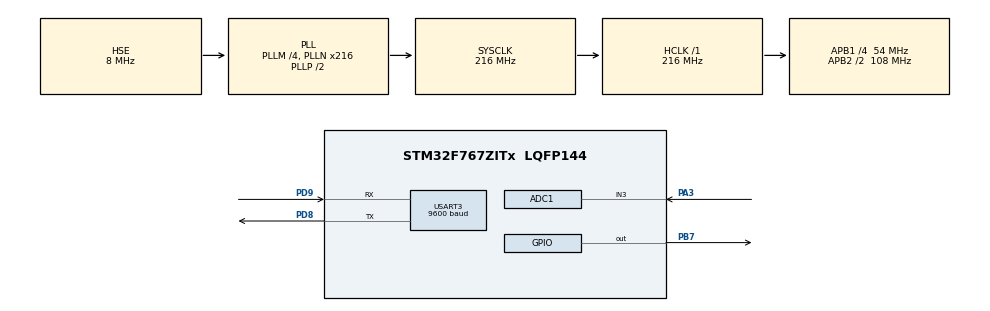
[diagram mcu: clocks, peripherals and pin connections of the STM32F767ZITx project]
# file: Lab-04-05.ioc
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ADC1.Channel-0\#ChannelRegularConversion=ADC_CHANNEL_3
ADC1.InjNumberOfConversion=0
ADC1.NbrOfConversion=1
ADC1.NbrOfConversionFlag=1
ADC1.Rank-0\#ChannelRegularConversion=1
ADC1.SamplingTime-0\#ChannelRegularConversion=ADC_SAMPLETIME_3CYCLES
ADC1.ScanConvMode=ADC_SCAN_DISABLE
ADC1.master=1
Mcu.Family=STM32F7
Mcu.Name=STM32F767ZITx
Mcu.Package=LQFP144
NVIC.PriorityGroup=NVIC_PRIORITYGROUP_4
NVIC.TIM6_DAC_IRQn=true\:0\:0\:false\:false\:true\:true\:true
NVIC.USART3_IRQn=true\:0\:0\:false\:false\:true\:true\:true
PA3.Signal=ADCx_IN3
PB7.Signal=GPIO_Output
PD8.Mode=Asynchronous
PD8.Signal=USART3_TX
PD9.Mode=Asynchronous
PD9.Signal=USART3_RX
PH0/OSC_IN.Mode=HSE-External-Clock-Source
PH0/OSC_IN.Signal=RCC_OSC_IN
PH1/OSC_OUT.Mode=HSE-External-Clock-Source
PH1/OSC_OUT.Signal=RCC_OSC_OUT
ProjectManager.HeapSize=0x200
ProjectManager.StackSize=0x400
ProjectManager.TargetToolchain=STM32CubeIDE
RCC.AHBFreq_Value=216000000
RCC.APB1CLKDivider=RCC_HCLK_DIV4
RCC.APB1Freq_Value=54000000
RCC.APB1TimFreq_Value=108000000
RCC.APB2CLKDivider=RCC_HCLK_DIV2
RCC.APB2Freq_Value=108000000
RCC.APB2TimFreq_Value=216000000
RCC.CortexFreq_Value=216000000
RCC.HCLKFreq_Value=216000000
RCC.HSE_VALUE=8000000
RCC.HSI_VALUE=16000000
RCC.LSE_VALUE=32768
RCC.PLLM=4
RCC.PLLN=216
RCC.PLLSourceVirtual=RCC_PLLSOURCE_HSE
RCC.SYSCLKFreq_VALUE=216000000
RCC.SYSCLKSource=RCC_SYSCLKSOURCE_PLLCLK
RCC.USBFreq_Value=216000000
RCC.VCOOutputFreq_Value=432000000
SH.ADCx_IN3.0=ADC1_IN3,IN3
TIM6.Period=2000
TIM6.Prescaler=54000
USART3.BaudRate=9600
USART3.VirtualMode-Asynchronous=VM_ASYNC
VP_TIM6_VS_ClockSourceINT.Mode=Enable_Timer
board=custom

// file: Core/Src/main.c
/* USER CODE BEGIN Header */
/**
  ******************************************************************************
  * @file           : main.c
  * @brief          : Main program body
  ******************************************************************************
  * @attention
  *
  * <h2><center>&copy; Copyright (c) 2019 STMicroelectronics.
  * All rights reserved.</center></h2>
  *
  * This software component is licensed by ST under BSD 3-Clause license,
  * the "License"; You may not use this file except in compliance with the
  * License. You may obtain a copy of the License at:
  *                        opensource.org/licenses/BSD-3-Clause
  *
  ******************************************************************************
  */
/* USER CODE END Header */

#include "main.h"

/* USER CODE BEGIN Includes */
#include <stdio.h>
#include "retarget.h"
#include <string.h>
/* USER CODE END Includes */

/* USER CODE BEGIN PM */
void config_USART3();
void sendChar(char c)
{
	while((USART3->ISR & USART_ISR_TXE) == 0)
	{
		// Wait until it's 1 to transmit
	}
	USART3->TDR = (uint8_t)c; // Send Char
}
void sendString(char *word, uint8_t size)
{
	for (uint16_t i = 0; i < size; i++) {
		char c = word[i];
		sendChar(c);	// Send each char

	}
}

/* USER CODE END PM */

ADC_HandleTypeDef hadc1;

TIM_HandleTypeDef htim6;

UART_HandleTypeDef huart3;

void SystemClock_Config(void);
static void MX_GPIO_Init(void);
static void MX_ADC1_Init(void);
static void MX_USART3_UART_Init(void);
static void MX_TIM6_Init(void);

int main(void)
{

  /* MCU Configuration--------------------------------------------------------*/

  /* Reset of all peripherals, Initializes the Flash interface and the Systick. */
  HAL_Init();

  /* Configure the system clock */
  SystemClock_Config();

  /* Initialize all configured peripherals */
  MX_GPIO_Init();
  MX_ADC1_Init();
  MX_USART3_UART_Init();
  MX_TIM6_Init();
  /* USER CODE BEGIN 2 */
  RetargetInit(&huart3);
  HAL_TIM_Base_Start_IT(&htim6);
  //printf("Bienvenido\n\r");
  /* USER CODE END 2 */

  /* Infinite loop */
  while (1)
  {

  }
}

void SystemClock_Config(void)
{
  RCC_OscInitTypeDef RCC_OscInitStruct = {0};
  RCC_ClkInitTypeDef RCC_ClkInitStruct = {0};
  RCC_PeriphCLKInitTypeDef PeriphClkInitStruct = {0};

  /** Configure the main internal regulator output voltage
  */
  __HAL_RCC_PWR_CLK_ENABLE();
  __HAL_PWR_VOLTAGESCALING_CONFIG(PWR_REGULATOR_VOLTAGE_SCALE1);
  /** Initializes the CPU, AHB and APB busses clocks
  */
  RCC_OscInitStruct.OscillatorType = RCC_OSCILLATORTYPE_HSE;
  RCC_OscInitStruct.HSEState = RCC_HSE_BYPASS;
  RCC_OscInitStruct.PLL.PLLState = RCC_PLL_ON;
  RCC_OscInitStruct.PLL.PLLSource = RCC_PLLSOURCE_HSE;
  RCC_OscInitStruct.PLL.PLLM = 4;
  RCC_OscInitStruct.PLL.PLLN = 216;
  RCC_OscInitStruct.PLL.PLLP = RCC_PLLP_DIV2;
  RCC_OscInitStruct.PLL.PLLQ = 2;
  if (HAL_RCC_OscConfig(&RCC_OscInitStruct) != HAL_OK)
  {
    Error_Handler();
  }
  /** Activate the Over-Drive mode
  */
  if (HAL_PWREx_EnableOverDrive() != HAL_OK)
  {
    Error_Handler();
  }
  /** Initializes the CPU, AHB and APB busses clocks
  */
  RCC_ClkInitStruct.ClockType = RCC_CLOCKTYPE_HCLK|RCC_CLOCKTYPE_SYSCLK
                              |RCC_CLOCKTYPE_PCLK1|RCC_CLOCKTYPE_PCLK2;
  RCC_ClkInitStruct.SYSCLKSource = RCC_SYSCLKSOURCE_PLLCLK;
  RCC_ClkInitStruct.AHBCLKDivider = RCC_SYSCLK_DIV1;
  RCC_ClkInitStruct.APB1CLKDivider = RCC_HCLK_DIV4;
  RCC_ClkInitStruct.APB2CLKDivider = RCC_HCLK_DIV2;

  if (HAL_RCC_ClockConfig(&RCC_ClkInitStruct, FLASH_LATENCY_7) != HAL_OK)
  {
    Error_Handler();
  }
  PeriphClkInitStruct.PeriphClockSelection = RCC_PERIPHCLK_USART3;
  PeriphClkInitStruct.Usart3ClockSelection = RCC_USART3CLKSOURCE_PCLK1;
  if (HAL_RCCEx_PeriphCLKConfig(&PeriphClkInitStruct) != HAL_OK)
  {
    Error_Handler();
  }
}

static void MX_ADC1_Init(void)
{

  ADC_ChannelConfTypeDef sConfig = {0};

  /** Configure the global features of the ADC (Clock, Resolution, Data Alignment and number of conversion)
  */
  hadc1.Instance = ADC1;
  hadc1.Init.ClockPrescaler = ADC_CLOCK_SYNC_PCLK_DIV4;
  hadc1.Init.Resolution = ADC_RESOLUTION_12B;
  hadc1.Init.ScanConvMode = ADC_SCAN_DISABLE;
  hadc1.Init.ContinuousConvMode = DISABLE;
  hadc1.Init.DiscontinuousConvMode = DISABLE;
  hadc1.Init.ExternalTrigConvEdge = ADC_EXTERNALTRIGCONVEDGE_NONE;
  hadc1.Init.ExternalTrigConv = ADC_SOFTWARE_START;
  hadc1.Init.DataAlign = ADC_DATAALIGN_RIGHT;
  hadc1.Init.NbrOfConversion = 1;
  hadc1.Init.DMAContinuousRequests = DISABLE;
  hadc1.Init.EOCSelection = ADC_EOC_SINGLE_CONV;
  if (HAL_ADC_Init(&hadc1) != HAL_OK)
  {
    Error_Handler();
  }
  /** Configure for the selected ADC regular channel its corresponding rank in the sequencer and its sample time.
  */
  sConfig.Channel = ADC_CHANNEL_3;
  sConfig.Rank = ADC_REGULAR_RANK_1;
  sConfig.SamplingTime = ADC_SAMPLETIME_3CYCLES;
  if (HAL_ADC_ConfigChannel(&hadc1, &sConfig) != HAL_OK)
  {
    Error_Handler();
  }

}

static void MX_TIM6_Init(void)
{

  TIM_MasterConfigTypeDef sMasterConfig = {0};

  htim6.Instance = TIM6;
  htim6.Init.Prescaler = 54000;
  htim6.Init.CounterMode = TIM_COUNTERMODE_UP;
  htim6.Init.Period = 2000;
  htim6.Init.AutoReloadPreload = TIM_AUTORELOAD_PRELOAD_DISABLE;
  if (HAL_TIM_Base_Init(&htim6) != HAL_OK)
  {
    Error_Handler();
  }
  sMasterConfig.MasterOutputTrigger = TIM_TRGO_RESET;
  sMasterConfig.MasterSlaveMode = TIM_MASTERSLAVEMODE_DISABLE;
  if (HAL_TIMEx_MasterConfigSynchronization(&htim6, &sMasterConfig) != HAL_OK)
  {
    Error_Handler();
  }

}

static void MX_USART3_UART_Init(void)
{

  huart3.Instance = USART3;
  huart3.Init.BaudRate = 9600;
  huart3.Init.WordLength = UART_WORDLENGTH_8B;
  huart3.Init.StopBits = UART_STOPBITS_1;
  huart3.Init.Parity = UART_PARITY_NONE;
  huart3.Init.Mode = UART_MODE_TX_RX;
  huart3.Init.HwFlowCtl = UART_HWCONTROL_NONE;
  huart3.Init.OverSampling = UART_OVERSAMPLING_16;
  huart3.Init.OneBitSampling = UART_ONE_BIT_SAMPLE_DISABLE;
  huart3.AdvancedInit.AdvFeatureInit = UART_ADVFEATURE_NO_INIT;
  if (HAL_UART_Init(&huart3) != HAL_OK)
  {
    Error_Handler();
  }
  /* USER CODE BEGIN USART3_Init 2 */
  //HAL_UART_MspInit(&huart3);
  /* USER CODE END USART3_Init 2 */

}

static void MX_GPIO_Init(void)
{
  GPIO_InitTypeDef GPIO_InitStruct = {0};

  /* GPIO Ports Clock Enable */
  __HAL_RCC_GPIOH_CLK_ENABLE();
  __HAL_RCC_GPIOA_CLK_ENABLE();
  __HAL_RCC_GPIOD_CLK_ENABLE();
  __HAL_RCC_GPIOB_CLK_ENABLE();

  /*Configure GPIO pin Output Level */
  HAL_GPIO_WritePin(GPIOB, GPIO_PIN_7, GPIO_PIN_RESET);

  /*Configure GPIO pin : PB7 */
  GPIO_InitStruct.Pin = GPIO_PIN_7;
  GPIO_InitStruct.Mode = GPIO_MODE_OUTPUT_PP;
  GPIO_InitStruct.Pull = GPIO_NOPULL;
  GPIO_InitStruct.Speed = GPIO_SPEED_FREQ_LOW;
  HAL_GPIO_Init(GPIOB, &GPIO_InitStruct);

}

/* USER CODE BEGIN 4 */
void config_USART3()
{
	/*
	 * Clock Configuration
	 */
	RCC->APB1ENR |= (1<<18);				// Enable USART3 Clock
	RCC->DCKCFGR2 &= ~(1<<4);				// Clear USART3's clock selection
	RCC->DCKCFGR2 |= (1<<4);				// Set SYSCLK as USART3's clock
	/*
	 * USART Configuration
	 */
	USART3->BRR = 22500;					// Baud rate = 9600 bps
	USART3->CR1 &= ~( (1<<12) | (1<<28) );	// Word length 8 bits
	USART3->CR1 &= ~(1<<15);				// Oversampling 16 bits
	USART3->CR1 &= ~(1<<10);				// Parity disabled
	USART3->CR1 &= ~(1<<9);					// Even parity
	USART3->CR1 |= (1<<3);					// Enable transmitter
	USART3->CR1 |= (1<<2);					// Enable receiver
	USART3->CR2 &= ~(3<<12);				// 1 stop bit

}
/* USER CODE END 4 */

void Error_Handler(void)
{
}

/************************ (C) COPYRIGHT STMicroelectronics *****END OF FILE****/
